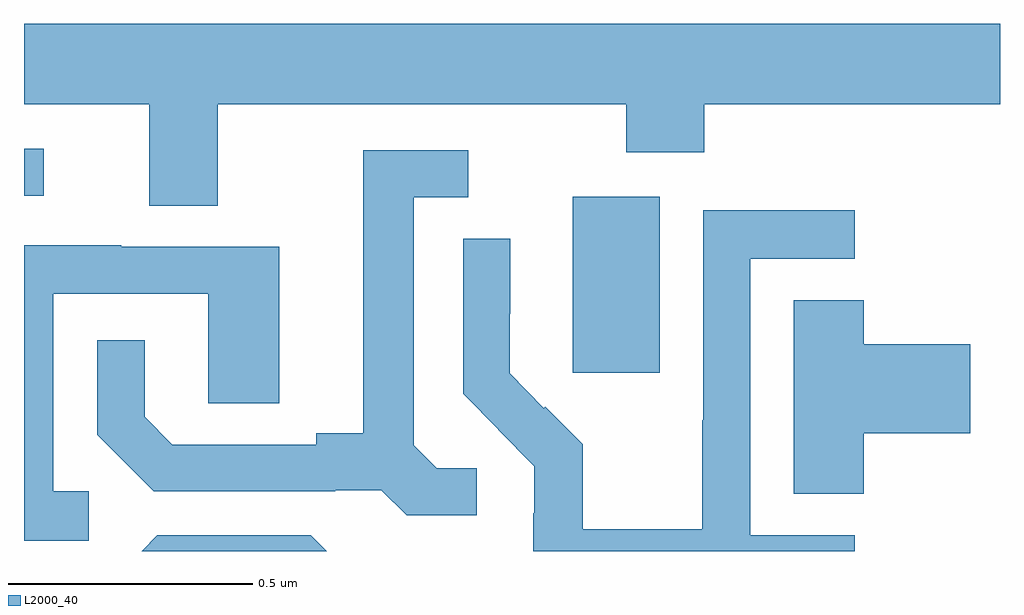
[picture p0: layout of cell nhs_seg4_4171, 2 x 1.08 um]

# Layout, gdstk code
import gdstk
lib = gdstk.Library(unit=1e-6, precision=1e-09)
def R(c, l, rs):  # rectangles x0, y0, x1, y1
    for r in rs: c.add(gdstk.rectangle(r[:2], r[2:], *l))
def P(c, l, *ps):  # polygons
    for p in ps: c.add(gdstk.Polygon(p, *l))
L2000_40 = (2000, 40)

nhs_seg4_4171 = lib.new_cell('nhs_seg4_4171')
R(nhs_seg4_4171, L2000_40, [(163.124,800.265,163.303,800.626), (162,800.628,162.04,800.724)])
P(nhs_seg4_4171, L2000_40, [(162.397,800.816),(163.234,800.816),(163.234,800.717),(163.394,800.717),(163.394,800.816),(164,800.816),(164,800.98),(162,800.98),(162,800.816),(162.257,800.816),(162.257,800.608),(162.397,800.608)],
  [(162.928,800.07),(162.846,800.07),(162.799,800.117),(162.799,800.625),(162.91,800.625),(162.91,800.721),(162.695,800.721),(162.695,800.141),(162.599,800.141),(162.599,800.118),(162.304,800.118),(162.247,800.175),(162.247,800.332),(162.15,800.332),(162.15,800.138),(162.266,800.022),(162.638,800.022),(162.638,800.025),(162.732,800.025),(162.784,799.973),(162.928,799.973)],
  [(163.702,799.932),(163.488,799.932),(163.488,800.499),(163.702,800.499),(163.702,800.598),(163.392,800.598),(163.392,800.168),(163.39,800.168),(163.39,799.945),(163.145,799.945),(163.145,800.119),(163.068,800.196),(163.065,800.193),(162.995,800.264),(162.995,800.386),(162.996,800.386),(162.996,800.54),(162.9,800.54),(162.9,800.222),(162.973,800.149),(162.972,800.148),(163.046,800.074),(163.046,799.977),(163.044,799.977),(163.044,799.9),(163.702,799.9)],
  [(162.133,800.022),(162.06,800.022),(162.06,800.427),(162.378,800.427),(162.378,800.203),(162.523,800.203),(162.523,800.523),(162.199,800.523),(162.199,800.527),(162,800.527),(162,799.921),(162.133,799.921)],
  [(163.721,800.141),(163.939,800.141),(163.939,800.324),(163.721,800.324),(163.721,800.414),(163.577,800.414),(163.577,800.017),(163.721,800.017)],
  [(162.588,799.932),(162.273,799.932),(162.241,799.9),(162.62,799.9)])

lib.write_gds('nhs_seg4_4171.gds')
